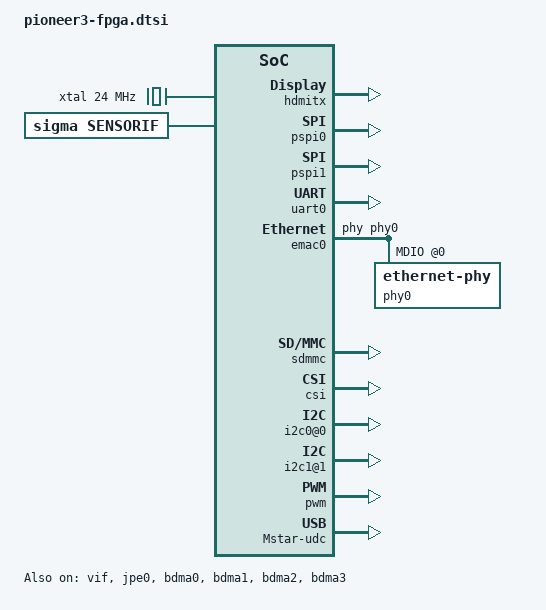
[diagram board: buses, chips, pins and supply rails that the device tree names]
/*
* pioneer3-fpga.dtsi- Sigmastar
*
* Copyright (c) [2019~2020] SigmaStar Technology.
*
*
* This software is licensed under the terms of the GNU General Public
* License version 2, as published by the Free Software Foundation, and
* may be copied, distributed, and modified under those terms.
*
* This program is distributed in the hope that it will be useful,
* but WITHOUT ANY WARRANTY; without even the implied warranty of
* MERCHANTABILITY or FITNESS FOR A PARTICULAR PURPOSE.  See the
* GNU General Public License version 2 for more details.
*
*/

#include <../../../../drivers/sstar/include/pioneer3/irqs.h>
#include <../../../../drivers/sstar/include/pioneer3/gpio.h>
#include <dt-bindings/interrupt-controller/irq.h>
#include <dt-bindings/interrupt-controller/arm-gic.h>
#include "skeleton.dtsi"


/ {
    cpus {
        #address-cells = <1>;
        #size-cells = <0>;

        cpu@0 {
            device_type = "cpu";
            compatible = "arm,cortex-a7";
            clocks = <&xtal>;
        };
        cpu@1 {
            device_type = "cpu";
            compatible = "arm,cortex-a7";
            clocks = <&xtal>;
        };

    };

    xtal: oscillator {
        compatible = "fixed-clock";
        #clock-cells = <0>;
        clock-frequency = <24000000>;
    };

    aliases {
        console = &uart0;
        serial0 = &uart0;
    };

    soc {
        compatible = "simple-bus";
        interrupt-parent = <&ms_main_intc>;
        #address-cells = <1>;
        #size-cells = <1>;
        ranges;

        gic: gic@16000000 {
            compatible = "arm,cortex-a7-gic";
            #interrupt-cells = <3>;
            #address-cells = <1>;
            #size-cells = <1>;
            interrupt-controller;
            interrupt-parent = <&gic>;
            reg = <0x16001000 0x1000>,
                  <0x16002000 0x1000>;
        };

        ms_main_intc: ms_main_intc {
            compatible = "sstar,main-intc";
            #interrupt-cells = <3>;
            #address-cells = <1>;
            #size-cells = <1>;
            interrupt-parent=<&gic>;
            interrupt-controller;
        };

        ms_pm_intc: ms_pm_intc {
            compatible = "sstar,pm-intc";
            #interrupt-cells = <1>;
            interrupt-parent=<&ms_main_intc>;
            interrupt-controller;
        };

        arch_timer {
            compatible = "arm,cortex-a7-timer", "arm,armv7-timer";
            interrupt-parent=<&gic>;
            interrupts = <GIC_PPI 13 (GIC_CPU_MASK_SIMPLE(2) | IRQ_TYPE_LEVEL_LOW)>,
                         <GIC_PPI 14 (GIC_CPU_MASK_SIMPLE(2) | IRQ_TYPE_LEVEL_LOW)>,
                         <GIC_PPI 11 (GIC_CPU_MASK_SIMPLE(2) | IRQ_TYPE_LEVEL_LOW)>,
                         <GIC_PPI 10 (GIC_CPU_MASK_SIMPLE(2) | IRQ_TYPE_LEVEL_LOW)>;
            clock-frequency = <24000000>;  /* arch_timer must use clock-frequency*/
        };

        pmu {
            compatible = "arm,cortex-a7-pmu";
            interrupt-parent=<&gic>;
            interrupts = <GIC_SPI 10 IRQ_TYPE_LEVEL_HIGH>,
                         <GIC_SPI 16 IRQ_TYPE_LEVEL_HIGH>,
                         <GIC_SPI 22 IRQ_TYPE_LEVEL_HIGH>,
                         <GIC_SPI 28 IRQ_TYPE_LEVEL_HIGH>;
        };

        clks: clocks{
            #address-cells = <1>;
            #size-cells = <1>;
            ranges;
        };

/*
        timer_clockevent: timer@1F006040 {
            compatible = "sstar,piu-clockevent";
            reg = <0x1F006040 0x100>;
            interrupts=<GIC_SPI INT_FIQ_TIMER_0 IRQ_TYPE_LEVEL_HIGH>;
            clocks = <&CLK_xtali_12m>;
        };
*/
/*
        venc{
            compatible = "sstar,venc";
            reg = <0x1F264800 0x100>, <0x1F264A00 0x100>, <0x1F264C00 0x100>,
                  <0x1F264E00 0x100>, <0x1F265000 0x100>,
                  <0x1F265200 0x100>, <0x1F265400 0x100>, <0x1F265600 0x100>, <0x1F265800 0x100>;
            reg-names = "mhe-0", "mhe-1", "mhe-2", "mfe-0", "mfe-1", "ven-0", "ven-1", "ven-2", "ven-3";
            interrupts = <GIC_SPI INT_IRQ_MHE IRQ_TYPE_LEVEL_HIGH>, <GIC_SPI INT_IRQ_MFE IRQ_TYPE_LEVEL_HIGH>;
            interrupt-parent = <&ms_main_intc>;
            interrupt-names = "mhe-irq", "mfe-irq";
            clocks = <&CLK_vhe>, <&CLK_miu_vhe>, <&CLK_riu_vhe_gp>, <&CLK_riu_w_clk_vhe_gp>, <&CLK_miu_vhe_gp_p>, <&CLK_miu_vhe_gp>;
            clock-names = "CKG_venc";
            status = "ok";
        };

        hvsp1: hvsp1 {
            compatible = "sstar,sclhvsp1_i6";
            //reg = <0x1F000000 0x100>;
            //clk,chiptop,hvsp0,sc0,dnr,ldc
            clocks = <&CLK_idclk>,<&CLK_fclk1>,<&CLK_fclk2>,<&CLK_odclk>;
            clock-names = "CLK_idclk","CLK_fclk1","CLK_fclk2","CLK_odclk";
            status = "ok";
            interrupts = <GIC_SPI INT_IRQ_SC_TOP IRQ_TYPE_LEVEL_HIGH>, <GIC_SPI INT_IRQ_SC1_TOP_INT IRQ_TYPE_LEVEL_HIGH>, <GIC_SPI INT_IRQ_SC2_TOP_INT IRQ_TYPE_LEVEL_HIGH>, <GIC_SPI INT_IRQ_CMDQ IRQ_TYPE_LEVEL_HIGH>;
        };

        hvsp2: hvsp2 {
            compatible = "sstar,hvsp2";
            //reg = <0x1F000000 0x100>;
            //clk,chiptop,hvsp0,sc0,dnr,ldc
            clocks = <&CLK_idclk>,<&CLK_fclk1>,<&CLK_fclk2>,<&CLK_odclk>;
            clock-names = "CLK_idclk","CLK_fclk1","CLK_fclk2","CLK_odclk";
            status = "ok";
            interrupts = <GIC_SPI INT_IRQ_SC_TOP IRQ_TYPE_LEVEL_HIGH>, <GIC_SPI INT_IRQ_CMDQ IRQ_TYPE_LEVEL_HIGH>;
        };

        hvsp3: hvsp3 {
            compatible = "sstar,hvsp3";
            //reg = <0x1F000000 0x100>;
            //clk,chiptop,hvsp0,sc0,dnr,ldc
            clocks = <&CLK_idclk>,<&CLK_fclk1>,<&CLK_fclk2>,<&CLK_odclk>;
            clock-names = "CLK_idclk","CLK_fclk1","CLK_fclk2","CLK_odclk";
            status = "ok";
            interrupts = <GIC_SPI INT_IRQ_SC_TOP IRQ_TYPE_LEVEL_HIGH>, <GIC_SPI INT_IRQ_CMDQ IRQ_TYPE_LEVEL_HIGH>;
        };

        scldma1: scldma1 {
            compatible = "sstar,scldma1";
            //reg = <0x1F000000 0x100>;
            //clk,chiptop,scldma
            clocks =  <&CLK_idclk>,<&CLK_fclk1>,<&CLK_fclk2>,<&CLK_odclk>;
            clock-names = "CLK_idclk","CLK_fclk1","CLK_fclk2","CLK_odclk";
            status = "ok";
            interrupts = <GIC_SPI INT_IRQ_SC_TOP IRQ_TYPE_LEVEL_HIGH>;
        };
        scldma2: scldma2 {
            compatible = "sstar,scldma2";
            //reg = <0x1F000000 0x100>;
            //clk,chiptop,scldma
            clocks =  <&CLK_idclk>,<&CLK_fclk1>,<&CLK_fclk2>,<&CLK_odclk>;
            clock-names = "CLK_idclk","CLK_fclk1","CLK_fclk2","CLK_odclk";
            status = "ok";
            interrupts = <GIC_SPI INT_IRQ_SC_TOP IRQ_TYPE_LEVEL_HIGH>;
        };
        scldma3: scldma3 {
            compatible = "sstar,scldma3";
            //reg = <0x1F000000 0x100>;
            //clk,chiptop,scldma
            clocks =  <&CLK_idclk>,<&CLK_fclk1>,<&CLK_fclk2>,<&CLK_odclk>;
            clock-names = "CLK_idclk","CLK_fclk1","CLK_fclk2","CLK_odclk";
            status = "ok";
            interrupts = <GIC_SPI INT_IRQ_SC_TOP IRQ_TYPE_LEVEL_HIGH>;
        };
        scldma4: scldma4 {
            compatible = "sstar,scldma4";
            //reg = <0x1F000000 0x100>;
            //clk,chiptop,scldma
            clocks =  <&CLK_idclk>,<&CLK_fclk1>,<&CLK_fclk2>,<&CLK_odclk>;
            clock-names = "CLK_idclk","CLK_fclk1","CLK_fclk2","CLK_odclk";
            status = "ok";
            interrupts = <GIC_SPI INT_IRQ_SC_TOP IRQ_TYPE_LEVEL_HIGH>;
        };
*/
        vip: vip {
            compatible = "sstar,vip";
            status = "ok";

            //reg = <0x1F224000 0x200>;
        };

        pnl: pnl {
            compatible = "sstar,pnl";
            status = "ok";

            //Reg = <0x1F224000 0x200>;
        };

        gop{                                 
            compatible = "sstar,gop";        
            clocks = <&CLK_VOID>,<&CLK_VOID>;
            status = "ok";                   
        };                                   

        disp: disp {
            compatible = "sstar,disp";
            status = "ok";
            interrupts = <GIC_SPI INT_IRQ_DISP_1 IRQ_TYPE_LEVEL_HIGH>, <GIC_SPI INT_IRQ_DISP0 IRQ_TYPE_LEVEL_HIGH>;
            //Reg = <0x1F224000 0x200>;
        };

        hdmitx: hdmitx {
            compatible = "sstar,hdmitx";
            status = "ok";

            //Reg = <0x1F224000 0x200>;
        };

        ge: ge {
            compatible = "sstar,ge0";
            status = "ok";
            interrupts = <GIC_SPI INT_IRQ_GE IRQ_TYPE_LEVEL_HIGH>;
            //Reg = <0x1F224000 0x200>;
        };

        pspi0: pspi0 {
            compatible = "sstar,pspi0";
            interrupts = <GIC_SPI INT_IRQ_PSPI02HOST IRQ_TYPE_LEVEL_HIGH>, <GIC_SPI INT_IRQ_BDMA_1 IRQ_TYPE_LEVEL_HIGH>;
            clocks = <&CLK_pspi0>;
        };

        pspi1: pspi1 {
            compatible = "sstar,pspi1";
            interrupts = <GIC_SPI INT_IRQ_PSPI12HOST IRQ_TYPE_LEVEL_HIGH>, <GIC_SPI INT_IRQ_BDMA_2 IRQ_TYPE_LEVEL_HIGH>;
            clocks = <&CLK_pspi1>;
        };

        uart0: uart@1F221000 {
            compatible = "sstar,uart";
            reg = <0x1F221000 0x100>;
            interrupts= <GIC_SPI INT_IRQ_UART_0 IRQ_TYPE_LEVEL_HIGH>;
            status = "ok";
            clocks = <&xtal>;
        };

        dip {
            compatible = "sstar,dip";
            interrupts=<GIC_SPI INT_IRQ_SC_TOP_1 IRQ_TYPE_LEVEL_HIGH>;
            status = "ok";
        };

        emac0: emac0 {
            compatible = "sstar-emac";
            interrupts = <GIC_SPI INT_IRQ_EMAC IRQ_TYPE_LEVEL_HIGH>, <GIC_SPI INT_FIQ_LAN_ESD IRQ_TYPE_LEVEL_HIGH>, <GIC_SPI INT_IRQ_EMAC_SCATTER_DMA IRQ_TYPE_LEVEL_HIGH>;
            // clocks = <&CLK_emac_ahb>,<&CLK_emac_tx>,<&CLK_emac_rx>;
            // reg = <0x1F2A2000 0x800>, <0x1F343C00 0x600>, <0x1F006200 0x600>;
            reg = <0x1F2A2000 0x800>, <0x1F343C00 0x600>, <0x00000000 0x000>;
            pad = <0x1F203C38 0x0001 0x0001>; // pad selection from 0x0001
            phy-handle = <&phy0>;
            max-speed = <10>;
            mdio_path = <0>; // force internal mdio
            status = "ok";
            mdio-bus {
                phy0: ethernet-phy@0 {
                    // phy-mode = "rmii";
                    phy-mode = "mii";
                };
            };
        };

/*
        emac1: emac1 {
            compatible = "sstar-emac";
            interrupts = <GIC_SPI INT_IRQ_EMAC_1 IRQ_TYPE_LEVEL_HIGH>, <GIC_SPI INT_FIQ_LAN_ESD IRQ_TYPE_LEVEL_HIGH>;
            // clocks = <&CLK_emac_ahb>,<&CLK_emac_tx>,<&CLK_emac_rx>;
            reg = <0x1F2A2800 0x800>, <0x1F344200 0x600>, <0x00000000 0x000>;
            pad = <0x1F203C38 0x0F00 0x0100>; // pad selection from 0x0100/0x0200/0x0300/0x0400/0x0500/0x0600/0x0700/0x0800/0x0900
            phy-handle = <&phy1>;
            max-speed = <10>;
            status = "ok";
            mdio-bus {
                phy1: ethernet-phy@1 {
                    // phy-mode = "rmii";
                    phy-mode = "mii";
                };
            };
        };
*/
        sdmmc {
            compatible = "sstar,sdmmc";

            slotnum = <1>;
            revcdz = <0>;

            slot-ip-orders = <0>,<1>,<2>; // 0:IP_SDIO
            slot-pad-orders = <0>,<1>,<2>; // 0:PAD_SD 1:PAD_GPIO
            slot-max-clks = <48000000>,<48000000>,<48000000>;
            slot-intcdzs = <1>,<1>,<1>;
            slot-fakecdzs = <0>,<0>,<0>;
            slot-cdzs-gpios = <PAD_PM_SD_CDZ>,<0>,<0>;
            slot-pwr-gpios = <PAD_TTL0>,<0>,<0>; // ssc010a:PAD_TTL0 P2_ssc011a: PAD_GPIO0
            slot-pwr-off-delay = <30>,<30>,<30>;
            slot-pwr-on-delay = <1>,<1>,<1>;
            slot-sdio-use = <0>,<0>,<0>;
            slot-removable = <1>,<1>,<1>;

            interrupts-extended = <&ms_main_intc GIC_SPI INT_IRQ_SDIO IRQ_TYPE_LEVEL_HIGH>,     // No need to change.
                                 <&ms_main_intc GIC_SPI INT_IRQ_SDIO IRQ_TYPE_LEVEL_HIGH>,      // No need to change.
                                 <&ms_main_intc GIC_SPI INT_FIQ_SD_CDZ IRQ_TYPE_LEVEL_HIGH>,    // CDZ int for Slot 0, default is for PAD_PM_SD_CDZ
                                 //<&ms_gpi_intc 42>,                                             // CDZ int for Slot 1, None.
                                   //<&ms_main_intc GIC_SPI INT_FIQ_SD_CDZ IRQ_TYPE_LEVEL_HIGH>,    // CDZ int for Slot 2, None.
                                 <&ms_main_intc GIC_SPI INT_FIQ_SD_CDZ IRQ_TYPE_LEVEL_HIGH>;    // CDZ int for Slot 2, None.
            interrupt-names = "mie0_irq", "mie1_irq", "cdz_slot0_irq", "cdz_slot1_irq", "cdz_slot2_irq"; // No need to change.
            clocks = <&CLK_sdio>,<&CLK_VOID>,<&CLK_VOID>; // No need to change.

#ifdef CONFIG_CAM_CLK
            camclk = <CAMCLK_sdio CAMCLK_VOID CAMCLK_VOID>;
#endif
            status = "ok";
        };
        flashisp {
            compatible = "mtd-flashisp";
            clocks = <&CLK_bdma>;
            quadread = <0>;
            status = "disabled";
        };

        isp: isp {
            compatible = "isp";
            io_phy_addr = <0x1f000000>;
            banks = <0x1302>;
            interrupts = <GIC_SPI INT_IRQ_ISP IRQ_TYPE_LEVEL_HIGH>;
            //clocks = <&CLK_isp>;
            status = "ok";
            clock-frequency-index = <5>;
        };

        csi: csi {
            compatible = "csi";
            //io_phy_addr = <0x1f000000>;
            //banks = <0x1204>;
            //interrupts=  <GIC_SPI INT_IRQ_MIPI_CSI2 IRQ_TYPE_LEVEL_HIGH>;
            status = "ok";
        };

        vif: vif {
            compatible = "sstar,vif";
            status = "ok";
            reg = <0x1F263200 0x600>, <0x0 0x0>, <0x0 0x0>, <0x0 0x0>, <0x0 0x0>, <0x0 0x0>, <0x1F203C00 0x200>, <0x1F226600 0x200>, <0x1F207000 0x200>, <0x1F000000 0x400000>;
            //clocks = <&CLK_sr_mclk>;
            interrupts = <GIC_SPI INT_IRQ_VIF IRQ_TYPE_LEVEL_HIGH>;
            // Config sensor 0 pad mux
            vif_sr0_par_mode = <1>;
            vif_sr0_mipi_mode = <2>;
            vif_sr0_bt656_mode = <2>;
            // Config sensor 1 pad mux
            vif_sr1_par_mode = <0>;
            vif_sr1_mipi_mode = <2>;
            vif_sr1_bt656_mode = <2>;
        };

        ispalgo: ispalgo {
            compatible = "sstar,ispalgo";
            status = "ok";
        };

        ispmid: ispmid {
            compatible = "sstar,ispmid";
            status = "ok";
        };

        sensorif: sensorif {
            compatible = "sigma,sensorif";
            status = "ok";
            sensorif_grp0_i2c = <1>;
        };

        scl: scl {
            compatible = "sstar,scl";
            status = "ok";
        };

        vpe: vpe {
            compatible = "sigmastar,vpe";
            status = "ok";
            #ifdef CONFIG_CAM_CLK
            camclk = <CAMCLK_fclk1>;
            #else
            clocks = <&CLK_fclk1>;
            #endif
            interrupts = <GIC_SPI INT_IRQ_SC_TOP_0 IRQ_TYPE_LEVEL_HIGH>, <GIC_SPI INT_IRQ_SC_TOP_1 IRQ_TYPE_LEVEL_HIGH>;
        };

        jpe0: jpe@0x1F2C4000 {
            compatible = "sstar,cedric-jpe";
            reg = <0x1F2C4000 0x100>;
            interrupts = <GIC_SPI INT_IRQ_JPE IRQ_TYPE_LEVEL_HIGH>;
            clocks = <&CLK_jpe>;
            clock-names = "CKG_jpe";
            clk-select = <0>; // 0: 480MHz  1: 216MHz  2: 54MHz  3: 27MHz
            status = "ok";
        };
/*
        ive0: ive@0x1F2A4000 {
            compatible = "sstar,infinity3-ive";
            reg = <0x1F2A4000 0x100>,<0x1F2A4200 0x100>;
            interrupts = <GIC_SPI INT_IRQ_IVE_INT IRQ_TYPE_LEVEL_HIGH>;
            clocks = <&CLK_ive>,<&CLK_miu_ive>;
            status = "ok";
        };
*/
        i2c0@0{
            compatible = "sstar,i2c";
            reg = <0x1F223000 0x200>,<0x1F203c00 0x200>,<0x1F207000 0x200>;
                #address-cells = <1>;
                #size-cells = <0>;
            clocks = <&CLK_miic0>;
            i2c-group = <0>;
            status = "ok";
            /*
             * padmux: 1 -> PAD_I2C0_SCL, PAD_I2C0_SDA
             *         2 -> PAD_PWM0, PAD_PWM1
             *         3 -> PAD_SR_IO00, PAD_SR_IO01
            */
            i2c-padmux = <1>;
        };

        i2c1@1{
            compatible = "sstar,i2c";
            reg = <0x1F223200 0x200>,<0x1F203c00 0x200>,<0x1F207000 0x200>;
                #address-cells = <1>;
                #size-cells = <0>;
            clocks = <&CLK_miic1>;
            i2c-group = <1>;
            /*
             * padmux: 1 -> PAD_I2C1_SCL, PAD_I2C1_SDA
             *         2 -> PAD_PWM0, PAD_PWM1
             *         3 -> PAD_SR_IO00, PAD_SR_IO01
            */
            i2c-padmux = <8>;
            status = "ok";
//            24c512@54 {
//                compatible = "sstar,24c512";
//                reg = <0x54>;
//            };
        };

        sound {
            compatible = "sstar,infinity-audio";
//            reg = <0x1F000000 0x1000000>;
            interrupts=<GIC_SPI INT_IRQ_BACH IRQ_TYPE_LEVEL_HIGH>;
            playback-volume-level=<64>;    //0~76
            capture-volume-level=<64>;
            micin-gain-level=<0>;    //0~5
            linein-gain-level=<1>;//0~6
            lineout-gain-level=<1>;//0~2
        };
        bdma0 {
            compatible = "sstar,bdma0";
            reg = <0x1f200400 0x80>;
            interrupts=<GIC_SPI INT_IRQ_BDMA_0 IRQ_TYPE_LEVEL_HIGH>;
            clocks = <&CLK_bdma>;
            status = "ok";
        };

        bdma1 {
            compatible = "sstar,bdma1";
            reg = <0x1f200480 0x80>;
            interrupts=<GIC_SPI INT_IRQ_BDMA_0 IRQ_TYPE_LEVEL_HIGH>;
            clocks = <&CLK_bdma>;
            status = "ok";
        };

        bdma2 {
            compatible = "sstar,bdma2";
            reg = <0x1f200500 0x80>;
            interrupts=<GIC_SPI INT_IRQ_BDMA_0 IRQ_TYPE_LEVEL_HIGH>;
            clocks = <&CLK_bdma>;
            status = "ok";
        };

        bdma3 {
            compatible = "sstar,bdma3";
            reg = <0x1f200580 0x80>;
            interrupts=<GIC_SPI INT_IRQ_BDMA_0 IRQ_TYPE_LEVEL_HIGH>;
            clocks = <&CLK_bdma>;
            status = "ok";
        };

/*
        movdma {
            compatible = "sstar,movdma";
            interrupts=<GIC_SPI INT_IRQ_MOVEDMA IRQ_TYPE_LEVEL_HIGH>;
            clocks = <&CLK_miu>;
            status = "ok";
        };

        gop{
            compatible = "sstar,infinity-gop";
            clocks = <&CLK_gop0>,<&CLK_fclk1>,<&GATE_MCM_gop>, <&GATE_SRAM_gop>;
            status = "ok";
        };

        gop1{
            compatible = "sstar,infinity-gop1";
            clocks = <&CLK_gop1>,<&CLK_fclk1>,<&GATE_MCM_gop>, <&GATE_SRAM_gop>;
            status = "ok";
        };

        gop2{
            compatible = "sstar,infinity-gop2";
            clocks = <&CLK_gop2>,<&CLK_fclk2>,<&GATE_MCM_gop>, <&GATE_SRAM_gop>;
            status = "ok";
        };
*/
        rtc {
            compatible = "sstar,infinity-rtc";
            reg = <0x1F002400 0x40>;
            interrupts=<GIC_SPI INT_IRQ_RTC IRQ_TYPE_LEVEL_HIGH>;
            clocks =  <&xtal>;
        };

        cpufreq {
            compatible = "sstar,infinity-cpufreq";
            status = "ok";
        };

        pwm {
            compatible = "sstar,infinity-pwm";
            reg = <0x1F003400 0x600>;
            clocks = <&CLK_xtali_12m>;
            npwm = <4>;
            pad-ctrl = <PAD_GPIO0 PAD_GPIO1 PAD_UNKNOWN PAD_UNKNOWN>;
            status = "ok";
        };

        cmdq0 {
            compatible = "sstar,cmdq0";
            clocks = <&CLK_mcu>; //for timeout tick
            interrupts=<GIC_SPI INT_IRQ_CMDQ IRQ_TYPE_LEVEL_HIGH>;
            status = "ok";
        };

        cmdq1 {
            compatible = "sstar,cmdq1";
            clocks = <&CLK_mcu>; //for timeout tick
            interrupts=<GIC_SPI INT_IRQ_CMDQ IRQ_TYPE_LEVEL_HIGH>;
            status = "ok";
        };

        cmdq2 {
            compatible = "sstar,cmdq2";
            clocks = <&CLK_mcu>; //for timeout tick
            interrupts=<GIC_SPI INT_IRQ_CMDQ IRQ_TYPE_LEVEL_HIGH>;
            status = "ok";
        };

        cmdq3 {
            compatible = "sstar,cmdq3";
            clocks = <&CLK_mcu>; //for timeout tick
            interrupts=<GIC_SPI INT_IRQ_CMDQ IRQ_TYPE_LEVEL_HIGH>;
            status = "ok";
        };


	Mstar-udc {
            compatible = "sstar,infinity-udc";
            interrupts = <GIC_SPI INT_IRQ_OTG IRQ_TYPE_LEVEL_HIGH>;
            status = "ok";
        };

        miu {
            compatible = "sstar,miu";
            interrupts=<GIC_SPI INT_IRQ_MIU IRQ_TYPE_LEVEL_HIGH>;
            status = "ok";
        };

        mmu {
            compatible = "sstar,mmu";
            interrupts=<GIC_SPI INT_IRQ_MMU IRQ_TYPE_LEVEL_HIGH>;
            status = "ok";
        };
/*
        dec {
	    	compatible = "sstar,dec";
	    	banks = <0x1137>;
	    	interrupts = <GIC_SPI INT_IRQ_DEC IRQ_TYPE_LEVEL_HIGH>;
	    	status = "ok";
        };
*/

    };
};

&clks {
    #include <../../../../drivers/sstar/include/pioneer3/reg_clks.h>
    #include "pioneer3-clks.dtsi"
    #include "pioneer3-gates.dtsi"
};

